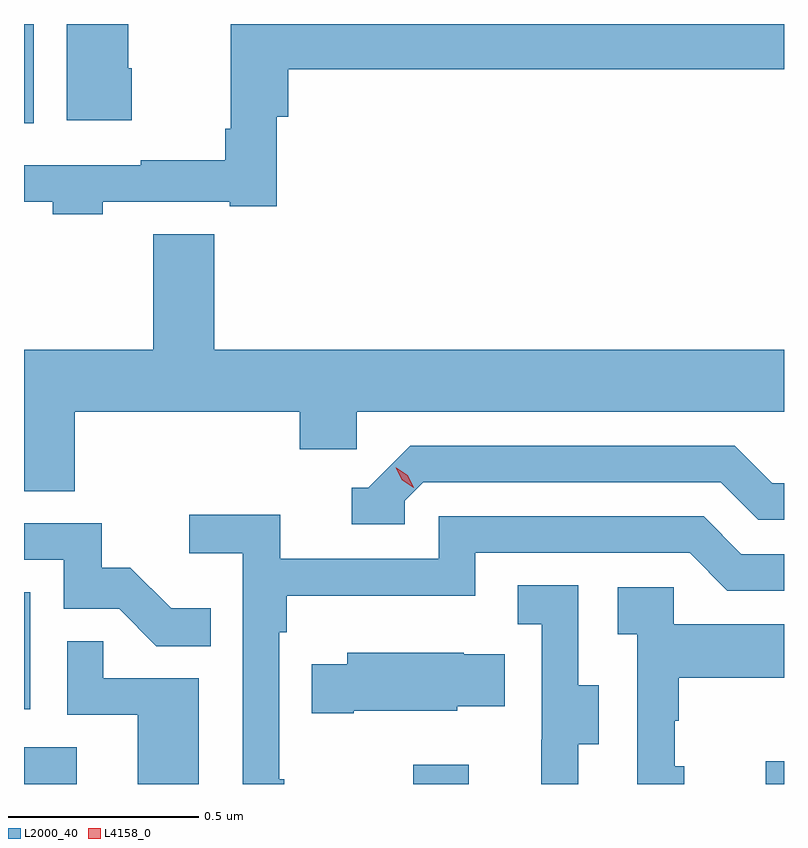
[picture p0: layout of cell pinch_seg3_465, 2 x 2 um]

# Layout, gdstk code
import gdstk
lib = gdstk.Library(unit=1e-6, precision=1e-09)
def R(c, l, rs):  # rectangles x0, y0, x1, y1
    for r in rs: c.add(gdstk.rectangle(r[:2], r[2:], *l))
def P(c, l, *ps):  # polygons
    for p in ps: c.add(gdstk.Polygon(p, *l))
L2000_40 = (2000, 40)
L4158_0 = (4158, 0)

pinch_seg3_465 = lib.new_cell('pinch_seg3_465')
R(pinch_seg3_465, L2000_40, [(901.176,681.289,901.315,681.386), (902.2,681.289,902.347,681.34), (903.128,681.289,903.176,681.349), (901.176,681.486,901.192,681.793), (901.176,683.028,901.201,683.289)])
P(pinch_seg3_465, L2000_40, [(901.383,682.821),(901.718,682.821),(901.718,682.809),(901.841,682.809),(901.841,683.045),(901.871,683.045),(901.871,683.17),(903.176,683.17),(903.176,683.289),(901.72,683.289),(901.72,683.014),(901.705,683.014),(901.705,682.93),(901.483,682.93),(901.483,682.917),(901.176,682.917),(901.176,682.821),(901.251,682.821),(901.251,682.789),(901.383,682.789)],
  [(901.459,683.172),(901.45,683.172),(901.45,683.289),(901.289,683.289),(901.289,683.036),(901.459,683.036)],
  [(901.31,682.268),(901.901,682.268),(901.901,682.17),(902.052,682.17),(902.052,682.268),(903.176,682.268),(903.176,682.432),(901.676,682.432),(901.676,682.736),(901.516,682.736),(901.516,682.432),(901.176,682.432),(901.176,682.06),(901.31,682.06)],
  [(902.178,682.035),(902.226,682.083),(903.009,682.083),(903.108,681.984),(903.176,681.984),(903.176,682.08),(903.145,682.08),(903.046,682.179),(902.193,682.179),(902.082,682.068),(902.039,682.068),(902.039,681.972),(902.178,681.972)],
  [(901.861,681.301),(901.848,681.301),(901.848,681.689),(901.868,681.689),(901.868,681.785),(902.364,681.785),(902.364,681.897),(902.928,681.897),(903.027,681.798),(903.176,681.798),(903.176,681.894),(903.064,681.894),(902.965,681.993),(902.268,681.993),(902.268,681.882),(901.85,681.882),(901.85,681.998),(901.611,681.998),(901.611,681.896),(901.752,681.896),(901.752,681.289),(901.861,681.289)],
  [(901.667,681.751),(901.563,681.751),(901.456,681.858),(901.38,681.858),(901.38,681.975),(901.176,681.975),(901.176,681.879),(901.281,681.879),(901.281,681.75),(901.426,681.75),(901.524,681.652),(901.667,681.652)],
  [(902.635,681.394),(902.689,681.394),(902.689,681.549),(902.634,681.549),(902.634,681.812),(902.475,681.812),(902.475,681.709),(902.538,681.709),(902.538,681.405),(902.537,681.405),(902.537,681.289),(902.635,681.289)],
  [(902.914,681.336),(902.889,681.336),(902.889,681.455),(902.899,681.455),(902.899,681.569),(903.176,681.569),(903.176,681.709),(902.886,681.709),(902.886,681.807),(902.739,681.807),(902.739,681.683),(902.79,681.683),(902.79,681.289),(902.914,681.289)],
  [(901.636,681.567),(901.385,681.567),(901.385,681.665),(901.29,681.665),(901.29,681.471),(901.475,681.471),(901.475,681.289),(901.636,681.289)],
  [(902.044,681.482),(902.316,681.482),(902.316,681.494),(902.441,681.494),(902.441,681.631),(902.333,681.631),(902.333,681.634),(902.027,681.634),(902.027,681.604),(901.933,681.604),(901.933,681.475),(902.044,681.475)])
P(pinch_seg3_465, L4158_0, [(902.202,682.069),(902.171,682.088),(902.154,682.121),(902.154,682.121),(902.155,682.121),(902.186,682.102),(902.202,682.07),(902.202,682.069)])

lib.write_gds('pinch_seg3_465.gds')
